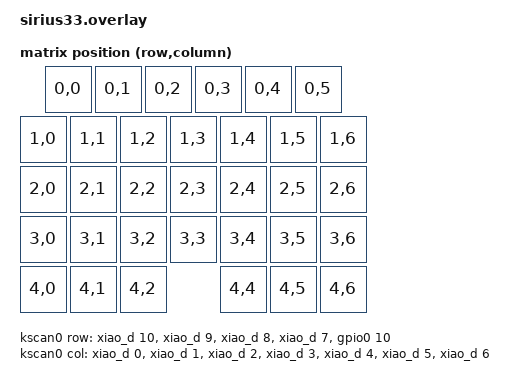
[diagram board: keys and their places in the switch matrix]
#include <dt-bindings/zmk/matrix_transform.h>
#include <physical_layouts.dtsi>

/ {
    chosen {
        zmk,physical-layout = &sirius_physical_layout;
    };
    
    sirius_physical_layout: sirius_physical_layout {
        compatible = "zmk,physical-layout";
        display-name = "Default";
        transform = <&default_transform>;
        kscan = <&kscan0>;

        keys  //                     w   h    x    y     rot    rx    ry
            = <&key_physical_attrs 100 100   50    0       0     0     0>
            , <&key_physical_attrs 100 100  150    0       0     0     0>
            , <&key_physical_attrs 100 100  250    0       0     0     0>
            , <&key_physical_attrs 100 100  350    0       0     0     0>
            , <&key_physical_attrs 100 100  450    0       0     0     0>
            , <&key_physical_attrs 100 100  550    0       0     0     0>

            , <&key_physical_attrs 100 100    0  100       0     0     0>
            , <&key_physical_attrs 100 100  100  100       0     0     0>
            , <&key_physical_attrs 100 100  200  100       0     0     0>
            , <&key_physical_attrs 100 100  300  100       0     0     0>
            , <&key_physical_attrs 100 100  400  100       0     0     0>
            , <&key_physical_attrs 100 100  500  100       0     0     0>
            , <&key_physical_attrs 100 100  600  100       0     0     0>

            , <&key_physical_attrs 100 100    0  200       0     0     0>
            , <&key_physical_attrs 100 100  100  200       0     0     0>
            , <&key_physical_attrs 100 100  200  200       0     0     0>
            , <&key_physical_attrs 100 100  300  200       0     0     0>
            , <&key_physical_attrs 100 100  400  200       0     0     0>
            , <&key_physical_attrs 100 100  500  200       0     0     0>
            , <&key_physical_attrs 100 100  600  200       0     0     0>

            , <&key_physical_attrs 100 100    0  300       0     0     0>
            , <&key_physical_attrs 100 100  100  300       0     0     0>
            , <&key_physical_attrs 100 100  200  300       0     0     0>
            , <&key_physical_attrs 100 100  300  300       0     0     0>
            , <&key_physical_attrs 100 100  400  300       0     0     0>
            , <&key_physical_attrs 100 100  500  300       0     0     0>
            , <&key_physical_attrs 100 100  600  300       0     0     0>
            
            , <&key_physical_attrs 100 100    0  400       0     0     0>
            , <&key_physical_attrs 100 100  100  400       0     0     0>
            , <&key_physical_attrs 100 100  200  400       0     0     0>
            , <&key_physical_attrs 100 100  400  400       0     0     0>
            , <&key_physical_attrs 100 100  500  400       0     0     0>
            , <&key_physical_attrs 100 100  600  400       0     0     0>
            ;
    };

    default_transform: keymap_transform_0 {
        compatible = "zmk,matrix-transform";
        columns = <7>;
        rows = <5>;               
        map = <
            RC(0,0) RC(0,1) RC(0,2) RC(0,3) RC(0,4) RC(0,5)
            RC(1,0) RC(1,1) RC(1,2) RC(1,3) RC(1,4) RC(1,5) RC(1,6)
            RC(2,0) RC(2,1) RC(2,2) RC(2,3) RC(2,4) RC(2,5) RC(2,6)
            RC(3,0) RC(3,1) RC(3,2) RC(3,3) RC(3,4) RC(3,5) RC(3,6)
            RC(4,0) RC(4,1) RC(4,2)         RC(4,4) RC(4,5) RC(4,6)
        >;
    };
    

    kscan0: kscan {
        compatible = "zmk,kscan-gpio-matrix";
        label = "KSCAN";
        diode-direction = "col2row";
        row-gpios
            = <&xiao_d 10 (GPIO_ACTIVE_HIGH | GPIO_PULL_DOWN)>
            , <&xiao_d 9 (GPIO_ACTIVE_HIGH | GPIO_PULL_DOWN)>
            , <&xiao_d 8 (GPIO_ACTIVE_HIGH | GPIO_PULL_DOWN)>
            , <&xiao_d 7 (GPIO_ACTIVE_HIGH | GPIO_PULL_DOWN)>
            , <&gpio0 10 (GPIO_ACTIVE_HIGH | GPIO_PULL_DOWN)>
            ;
        col-gpios
            = <&xiao_d 0 GPIO_ACTIVE_HIGH>
            , <&xiao_d 1 GPIO_ACTIVE_HIGH>
            , <&xiao_d 2 GPIO_ACTIVE_HIGH>
            , <&xiao_d 3 GPIO_ACTIVE_HIGH>
            , <&xiao_d 4 GPIO_ACTIVE_HIGH>
            , <&xiao_d 5 GPIO_ACTIVE_HIGH>
            , <&xiao_d 6 GPIO_ACTIVE_HIGH>
            ;
        };
};
